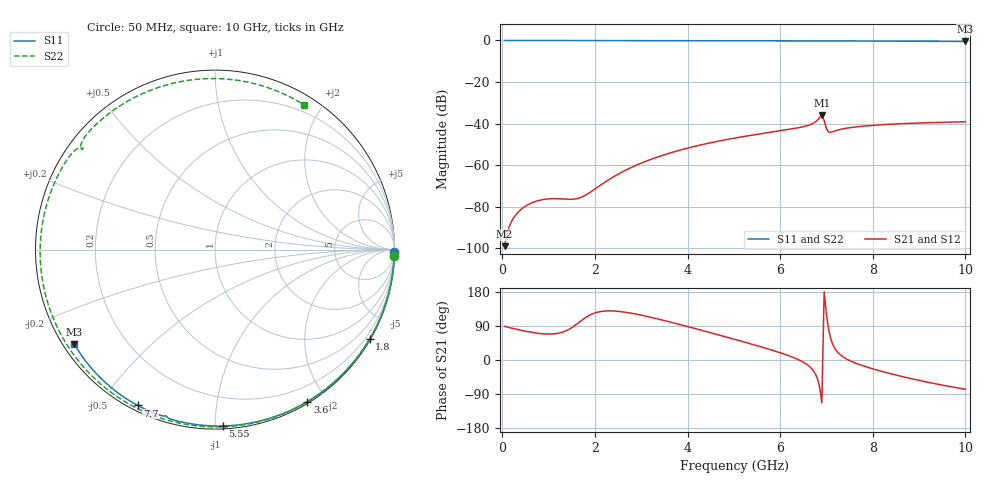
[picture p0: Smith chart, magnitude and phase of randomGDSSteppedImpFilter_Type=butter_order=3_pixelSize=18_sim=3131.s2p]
! freq	dB(S11)	phase(S11)	dB(S12)	phase(S12)
!  dB(S21)	phase(S21)	dB(S22)	phase(S22)
!S-par simulation data
#  GHz  S  DB  R 50
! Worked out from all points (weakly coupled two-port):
!   200 points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, 50 MHz to 10 GHz, reference 50 ohm
!   highest |S21| = -36.02 dB at 6.9 GHz (marker M1); lowest = -98.9 dB at 50 MHz (marker M2)
!   lowest |S11| = -0.5 dB at 10 GHz (marker M3), VSWR 35.09, Z = 1.56 - j15.2 ohm
!   |S11| at or under -10 dB: nowhere
!   |S22| runs from -0.7 to 0.0 dB; largest |S21 - S12| = 0
!   S11 on the Smith chart (normalised r, x): 50 MHz: open; 1.8 GHz: 0.03, -3.72; 3.6 GHz: 0.02, -1.78; 5.55 GHz: 0.02, -1.05; 7.7 GHz: 0.02, -0.62; 10 GHz: 0.03, -0.30
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0.05  -0.00 -0.9  -98.90 88.8  -98.90 88.8  -0.00 -2.2
0.45  -0.01 -7.6  -80.43 77.3  -80.43 77.3  -0.03 -19.1
0.8  -0.02 -13.5  -76.86 70.0  -76.86 70.0  -0.04 -33.7
1.55  -0.03 -26.0  -76.27 89.4  -76.27 89.4  -0.08 -63.3
1.75  -0.04 -29.3  -74.93 107.9  -74.93 107.9  -0.08 -70.8
1.8  -0.04 -30.1  -74.34 112.1  -74.34 112.1  -0.09 -72.7
2.55  -0.05 -42.2  -63.69 127.8  -63.69 127.8  -0.11 -98.7
3.4  -0.07 -55.6  -55.68 107.0  -55.68 107.0  -0.14 -125.1
3.6  -0.08 -58.7  -54.26 100.9  -54.26 100.9  -0.15 -130.9
4.3  -0.10 -69.3  -50.16 78.5  -50.16 78.5  -0.17 -150.3
5.05  -0.12 -80.3  -46.81 53.4  -46.81 53.4  -0.21 -170.0
5.55  -0.14 -87.4  -44.96 36.1  -44.96 36.1  -0.23 177.3
6.4  -0.18 -99.2  -41.94 0.6  -41.94 0.6  -0.28 155.7
6.7  -0.20 -103.4  -39.97 -25.5  -39.97 -25.5  -0.32 147.8
6.9  -0.29 -106.2  -36.02 -112.6  -36.02 -112.6  -0.66 142.4
6.95  -0.30 -106.4  -38.40 179.9  -38.40 179.9  -0.65 143.1
7  -0.27 -107.0  -42.55 120.1  -42.55 120.1  -0.46 142.1
7.05  -0.25 -107.7  -44.10 78.0  -44.10 78.0  -0.39 140.6
7.7  -0.27 -116.4  -41.40 -11.5  -41.40 -11.5  -0.35 122.9
8.35  -0.32 -124.9  -40.31 -35.1  -40.31 -35.1  -0.39 105.4
9.2  -0.40 -135.8  -39.53 -59.0  -39.53 -59.0  -0.43 81.6
10  -0.50 -146.1  -39.11 -77.1  -39.11 -77.1  -0.48 58.4
